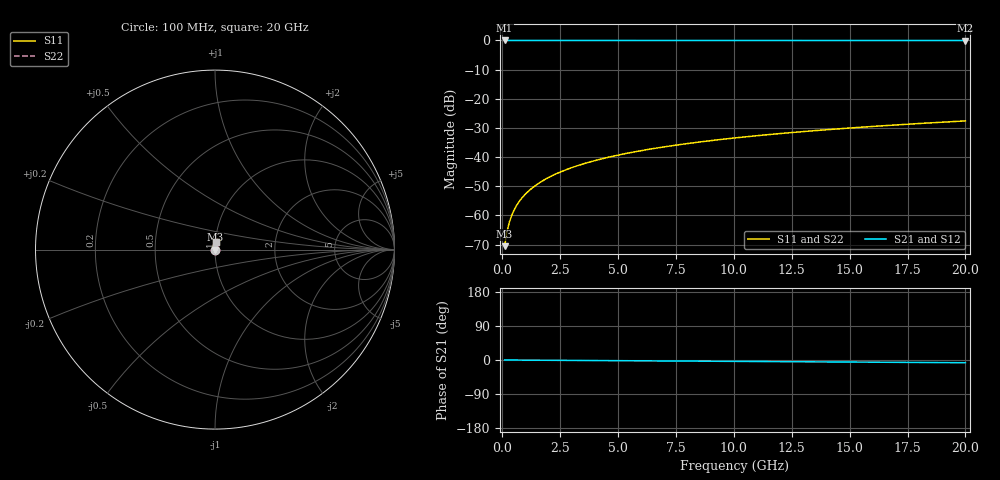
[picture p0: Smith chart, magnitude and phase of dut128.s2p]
! Touchstone file exported from HFSS 2026.1.0
!  File:  C:/ffzhzh/LocalFiles/Ansys_Project_Files/temp_train_TSV_128_1782990101_40604.aedt
!  Generated:  07:03:09 PM Jul  2, 2026
!  Design:  TSV
!  Project:  temp_train_TSV_128_1782990101_40604
! Variables:
!  h_bsmrdl = 2um
!  h_ox = 20um
!  h_rdl = 5um
!  h_sub = 63.72um
!  h_tmrdl = 5um
!  h_tsv = 63.72um
!  h_via = 3um
!  l_bsmrdl = 300um
!  l_sub = 414.84um
!  l_tmrdl = 200um
!  m_sub = 200um
!  pitch = 46.29um
!  r_tsv = 7.42um
!  s_tmrdl = 10um
!  w_bsmrdl = 18um
!  w_sub = 500um
!  w_tmrdl = 12um
!  x_tsv_center1 = 206um
!  x_tsv_center2 = 524um
!  x_tsv_center3 = 736um
!  x_tsv_center4 = 1054um
!  x_tsv_center5 = 1266um
!  x_tsv_center6 = 1584um
# GHz S MA R 50.000000
! Terminal data exported
! Port[1] = TSV1_1_T1
! Port[2] = TSV1_1_T2
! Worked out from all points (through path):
!   200 points, 100 MHz to 20 GHz, reference 50 ohm
!   highest |S21| = 0.00 dB at 100 MHz (marker M1); lowest = 0.0 dB at 20 GHz (marker M2)
!   lowest |S11| = -70.5 dB at 100 MHz (marker M3), VSWR 1.00, Z = 50 + j0.0246 ohm
!   |S11| at or under -10 dB: start of sweep to end of sweep
!   |S22| runs from -70.5 to -27.6 dB; largest |S21 - S12| = 5.3e-15
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0.1  0.0002975 55.6  0.9998 -0.0  0.9998 -0.0  0.0002975 55.6
! Gamma 0 0 0 0
! Port Impedance 50 0 50 0
0.2  0.0005205 70.1  0.9998 -0.1  0.9998 -0.1  0.0005205 70.1
0.3  0.0007544 75.3  0.9998 -0.1  0.9998 -0.1  0.0007544 75.3
0.4  0.0009881 77.7  0.9998 -0.2  0.9998 -0.2  0.0009881 77.7
0.5  0.001219 79.1  0.9998 -0.2  0.9998 -0.2  0.001219 79.1
0.6  0.001446 80.0  0.9998 -0.2  0.9998 -0.2  0.001446 80.0
0.7  0.001671 80.7  0.9997 -0.3  0.9997 -0.3  0.001671 80.7
0.8  0.001892 81.1  0.9997 -0.3  0.9997 -0.3  0.001892 81.1
1  0.002329 81.9  0.9997 -0.4  0.9997 -0.4  0.002329 81.9
1.4  0.003191 82.9  0.9996 -0.5  0.9996 -0.5  0.003191 82.9
1.7  0.003833 83.5  0.9996 -0.6  0.9996 -0.6  0.003833 83.5
2  0.004474 83.9  0.9996 -0.7  0.9996 -0.7  0.004474 83.9
2.7  0.005967 84.4  0.9995 -1.0  0.9995 -1.0  0.005967 84.4
3.5  0.007667 84.7  0.9994 -1.3  0.9994 -1.3  0.007667 84.7
4.2  0.009147 84.8  0.9994 -1.5  0.9994 -1.5  0.009147 84.8
5  0.01083 84.8  0.9993 -1.8  0.9993 -1.8  0.01083 84.8
6.8  0.0146 84.6  0.9991 -2.5  0.9991 -2.5  0.0146 84.6
8.3  0.01771 84.3  0.999 -3.0  0.999 -3.0  0.01771 84.3
10.1  0.02144 83.9  0.9989 -3.7  0.9989 -3.7  0.02144 83.9
13.4  0.02825 83.0  0.9986 -4.8  0.9986 -4.8  0.02825 83.0
16.7  0.03502 82.1  0.9982 -6.0  0.9982 -6.0  0.03502 82.1
20  0.04174 81.0  0.9978 -7.2  0.9978 -7.2  0.04174 81.0
